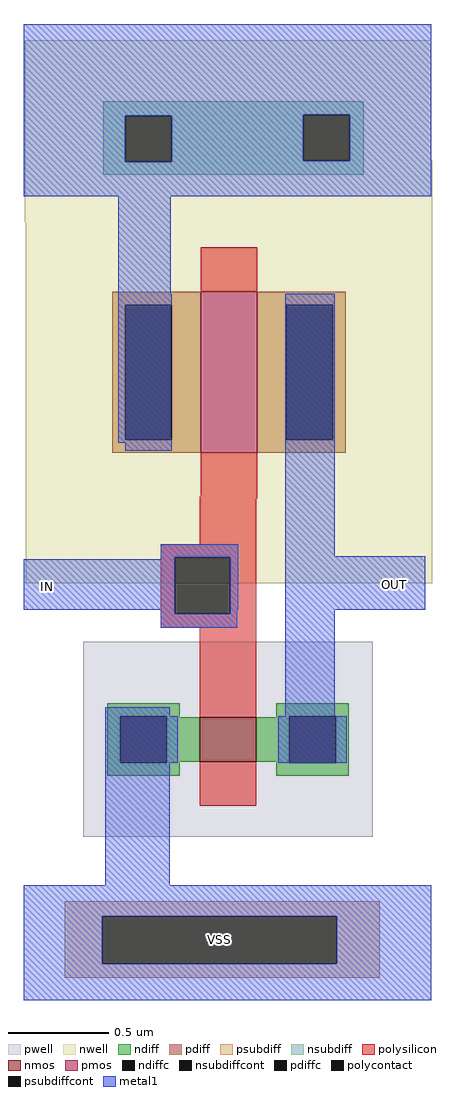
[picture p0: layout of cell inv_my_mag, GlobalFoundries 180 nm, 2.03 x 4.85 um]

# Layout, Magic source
magic
tech gf180mcuC
magscale 1 10
<< nwell >>
rect -60 831 344 1012
rect 114 556 171 558
<< psubdiff >>
rect -20 141 293 156
rect -20 94 17 141
rect 250 94 293 141
rect -20 80 293 94
<< nsubdiff >>
rect 18 938 277 951
rect 18 937 217 938
rect 18 891 40 937
rect 86 892 217 937
rect 263 892 277 938
rect 86 891 277 892
rect 18 878 277 891
<< psubdiffcont >>
rect 17 94 250 141
<< nsubdiffcont >>
rect 40 891 86 937
rect 217 892 263 938
<< polysilicon >>
rect 114 556 171 558
rect 114 511 170 556
rect 75 498 170 511
rect 75 442 89 498
rect 144 442 170 498
rect 75 428 170 442
rect 114 383 170 428
<< polycontact >>
rect 89 442 144 498
<< metal1 >>
rect -61 938 344 1028
rect -61 937 217 938
rect -61 891 40 937
rect 86 892 217 937
rect 263 892 344 938
rect 86 891 344 892
rect -61 857 344 891
rect 33 612 85 857
rect 75 498 152 511
rect 75 496 89 498
rect -61 446 89 496
rect 75 442 89 446
rect 144 446 152 498
rect 199 499 248 760
rect 199 446 338 499
rect 144 442 151 446
rect 75 428 151 442
rect 20 172 84 349
rect 199 294 248 446
rect -61 141 344 172
rect -61 94 17 141
rect 250 94 344 141
rect -61 58 344 94
use nmos_3p3_DDNVWA  nmos_3p3_DDNVWA_0
transform 1 0 142 0 1 317
box -144 -97 144 97
use pmos_3p3_MQGBLR  pmos_3p3_MQGBLR_0
transform 1 0 143 0 1 682
box -202 -210 202 210
<< labels >>
flabel psubdiffcont 134 118 134 118 0 FreeSans 480 0 0 0 VSS
port 6 nsew
flabel metal1 -37 469 -37 469 0 FreeSans 320 0 0 0 IN
port 8 nsew
flabel metal1 307 471 307 471 0 FreeSans 320 0 0 0 OUT
port 9 nsew
<< end >>

# cell nmos_3p3_DDNVWA: kit device nmos_3p3, w 0.220 l 0.280 m 1 nf 1 diffcov 100 polycov 100 guard 0 glc 0 grc 0 gtc 0 gbc 0 tbcov 100 rlcov 100 topc 0 botc 0 poverlap 0 doverlap 1 lmin 0.28 wmin 0.22 full_metal 0 compatible {nmos_3p3 nmos_6p0 nmos_6p0_nat}

# cell pmos_3p3_MQGBLR: kit device pmos_3p3, w 0.8 l 0.280 m 1 nf 1 diffcov 100 polycov 100 guard 0 glc 0 grc 0 gtc 0 gbc 0 tbcov 100 rlcov 100 topc 0 botc 0 poverlap 0 doverlap 1 lmin 0.28 wmin 0.22 full_metal 0 compatible {pmos_3p3 pmos_6p0}
